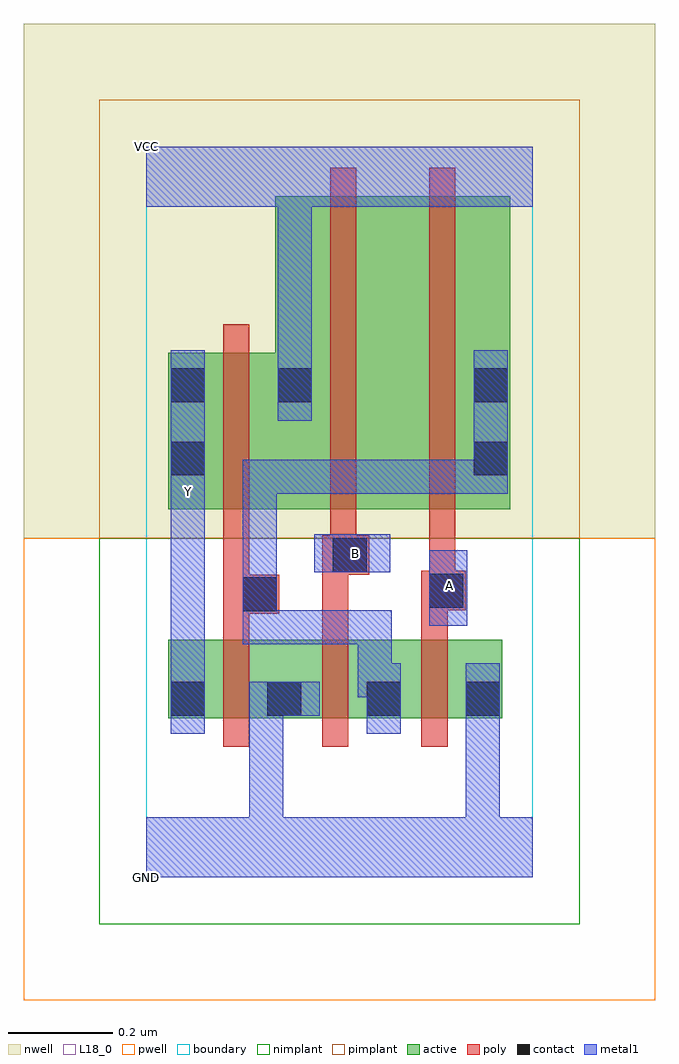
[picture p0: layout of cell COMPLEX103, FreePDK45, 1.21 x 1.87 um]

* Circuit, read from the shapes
.subckt COMPLEX103 A B GND VCC Y
M1 GND n1 Y VSUBS nfet w=0.15u l=0.05u
M2 n1 B GND VSUBS nfet w=0.15u l=0.05u
M3 GND A n1 VSUBS nfet w=0.15u l=0.05u
M4 VCC n1 Y n2 pfet w=0.3u l=0.05u
M5 n3 B VCC n2 pfet w=0.6u l=0.05u
M6 n1 A n3 n2 pfet w=0.6u l=0.05u
.ends

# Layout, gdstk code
import gdstk
lib = gdstk.Library(unit=1e-6, precision=1e-09)
def R(c, l, rs):  # rectangles x0, y0, x1, y1
    for r in rs: c.add(gdstk.rectangle(r[:2], r[2:], *l))
def A(c, l, x, y, w, h, nx, ny, dx, dy):  # array of equal rectangles
    R(c, l, [(x+i*dx, y+j*dy, x+i*dx+w, y+j*dy+h) for i in range(nx) for j in range(ny)])
active = (1, 0)
pwell = (2, 0)
nwell = (3, 0)
nimplant = (4, 0)
pimplant = (5, 0)
poly = (9, 0)
contact = (10, 0)
metal1 = (11, 0)
L18_0 = (18, 0)
boundary = (235, 0)

complex103 = lib.new_cell('COMPLEX103')
R(complex103, active, [(0.042,0.305,0.117,0.455), (0.042,0.305,0.302,0.455), (0.227,0.305,0.492,0.455), (0.227,0.305,0.302,0.397), (0.417,0.305,0.492,0.455), (0.417,0.305,0.682,0.455), (0.607,0.305,0.682,0.455), (0.042,0.705,0.322,1.005), (0.042,0.705,0.117,1.005), (0.247,0.705,0.472,1.305), (0.472,0.705,0.697,1.305), (0.622,0.705,0.697,1.2), (0.247,0.852,0.322,1.16)])
R(complex103, pwell, [(-0.235,-0.235,0.975,0.65)])
R(complex103, nwell, [(-0.235,0.65,0.975,1.635)])
R(complex103, nimplant, [(-0.09,-0.09,0.83,0.65)])
R(complex103, pimplant, [(-0.09,0.65,0.83,1.49)])
A(complex103, poly, 0.147, 0.25, 0.05, 0.26, 3, 1, 0.19, 0)
R(complex103, poly, [(0.147,0.46,0.197,0.555), (0.337,0.46,0.387,0.63), (0.527,0.46,0.577,0.562), (0.147,0.505,0.255,0.58), (0.527,0.512,0.612,0.587), (0.147,0.53,0.197,0.7), (0.542,0.537,0.592,0.7), (0.337,0.58,0.427,0.655), (0.352,0.605,0.402,0.7), (0.147,0.65,0.197,1.06), (0.352,0.65,0.402,1.36), (0.542,0.65,0.592,1.36)])
A(complex103, contact, 0.232, 0.31, 0.065, 0.065, 3, 1, 0.19, 0)
R(complex103, contact, [(0.047,0.31,0.112,0.375), (0.185,0.51,0.25,0.575), (0.542,0.517,0.607,0.582), (0.357,0.585,0.422,0.65), (0.047,0.77,0.112,0.835), (0.627,0.77,0.692,0.835), (0.047,0.91,0.112,0.975), (0.252,0.91,0.317,0.975), (0.627,0.91,0.692,0.975)])
R(complex103, metal1, [(0,0,0.74,0.115), (0.197,0.05,0.262,0.375), (0.612,0.05,0.677,0.34), (0.047,0.275,0.112,0.41), (0.422,0.275,0.487,0.41), (0.612,0.275,0.677,0.34), (0.612,0.275,0.677,0.34), (0.612,0.275,0.677,0.34), (0.612,0.275,0.677,0.34), (0.612,0.275,0.677,0.34), (0.612,0.275,0.677,0.34), (0.612,0.275,0.677,0.41), (0.197,0.31,0.262,0.375), (0.197,0.31,0.262,0.375), (0.197,0.31,0.262,0.375), (0.197,0.31,0.262,0.375), (0.197,0.31,0.262,0.375), (0.197,0.31,0.262,0.375), (0.197,0.31,0.332,0.375), (0.047,0.345,0.112,0.732), (0.405,0.345,0.487,0.41), (0.405,0.345,0.47,0.512), (0.185,0.447,0.25,0.512), (0.185,0.447,0.25,0.582), (0.185,0.447,0.47,0.512), (0.185,0.475,0.25,0.61), (0.542,0.482,0.615,0.627), (0.185,0.517,0.25,0.582), (0.185,0.517,0.25,0.582), (0.185,0.517,0.25,0.8), (0.322,0.585,0.467,0.657), (0.047,0.667,0.112,0.807), (0.047,0.735,0.112,0.8), (0.047,0.735,0.112,1.01), (0.185,0.735,0.25,0.8), (0.185,0.735,0.47,0.8), (0.405,0.735,0.47,0.8), (0.405,0.735,0.47,0.8), (0.405,0.735,0.47,0.8), (0.405,0.735,0.692,0.8), (0.627,0.735,0.692,0.8), (0.627,0.735,0.692,0.8), (0.627,0.735,0.692,1.01), (0.252,0.875,0.317,1.01), (0.252,0.945,0.317,1.35), (0,1.285,0.74,1.4)])
R(complex103, L18_0, [(0,0,0.74,0.115), (0.197,0.05,0.262,0.375), (0.612,0.05,0.677,0.34), (0.047,0.275,0.112,0.41), (0.612,0.275,0.677,0.41), (0.612,0.275,0.677,0.34), (0.612,0.275,0.677,0.34), (0.612,0.275,0.677,0.34), (0.612,0.275,0.677,0.34), (0.612,0.275,0.677,0.34), (0.612,0.275,0.677,0.34), (0.197,0.31,0.262,0.375), (0.197,0.31,0.262,0.375), (0.197,0.31,0.262,0.375), (0.197,0.31,0.262,0.375), (0.197,0.31,0.262,0.375), (0.197,0.31,0.262,0.375), (0.197,0.31,0.332,0.375), (0.047,0.345,0.112,0.732), (0.542,0.482,0.615,0.627), (0.547,0.527,0.612,0.592), (0.322,0.585,0.467,0.657), (0.367,0.587,0.432,0.652), (0.047,0.667,0.112,0.807), (0.047,0.707,0.112,0.772), (0.047,0.735,0.112,1.01), (0.047,0.735,0.112,0.8), (0.252,0.875,0.317,1.01), (0.252,0.945,0.317,1.35), (0,1.285,0.74,1.4)])
R(complex103, boundary, [(0,0,0.74,1.4)])
complex103.add(gdstk.Label('A', (0.58,0.56), layer=11, texttype=0))
complex103.add(gdstk.Label('B', (0.4,0.62), layer=11, texttype=0))
complex103.add(gdstk.Label('Y', (0.08,0.74), layer=11, texttype=0))
complex103.add(gdstk.Label('VCC', (0,1.4), layer=11, texttype=0))
complex103.add(gdstk.Label('GND', (0,0), layer=11, texttype=0))

lib.write_gds('COMPLEX103.gds')
